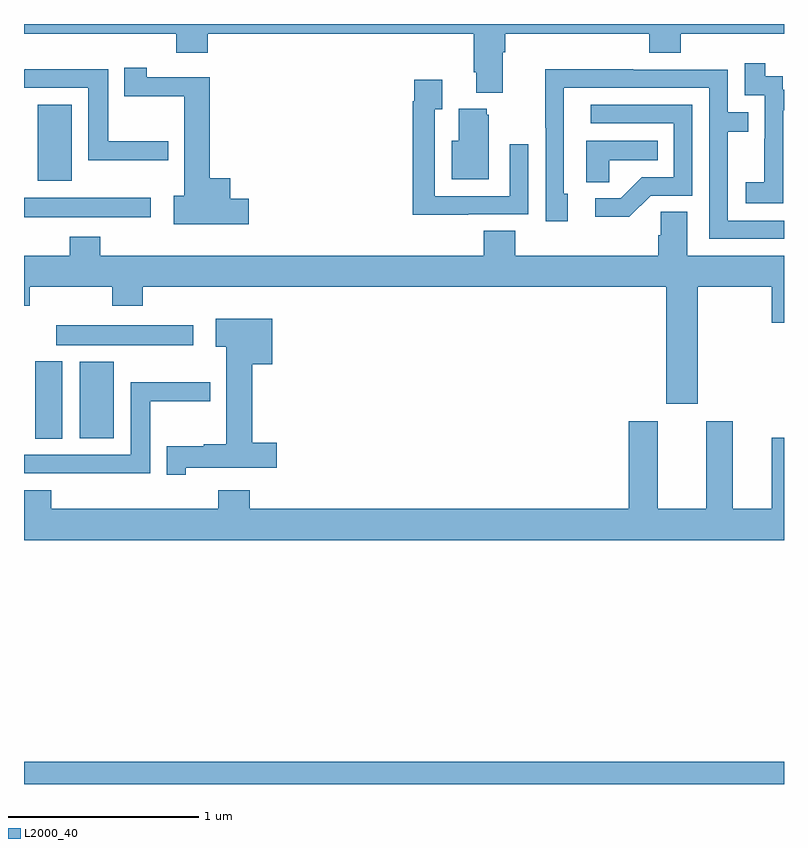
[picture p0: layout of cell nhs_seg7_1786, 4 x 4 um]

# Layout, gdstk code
import gdstk
lib = gdstk.Library(unit=1e-6, precision=1e-09)
def R(c, l, rs):  # rectangles x0, y0, x1, y1
    for r in rs: c.add(gdstk.rectangle(r[:2], r[2:], *l))
def P(c, l, *ps):  # polygons
    for p in ps: c.add(gdstk.Polygon(p, *l))
L2000_40 = (2000, 40)

nhs_seg7_1786 = lib.new_cell('nhs_seg7_1786')
R(nhs_seg7_1786, L2000_40, [(233,998,237,998.116), (233.06,999.817,233.2,1000.225), (233.294,999.821,233.473,1000.222), (233.169,1000.31,233.89,1000.414), (233,1000.982,233.668,1001.086), (233.072,1001.174,233.251,1001.575)])
P(nhs_seg7_1786, L2000_40, [(233,1001.948),(233.801,1001.948),(233.801,1001.849),(233.966,1001.849),(233.966,1001.948),(235.367,1001.948),(235.367,1001.746),(235.379,1001.746),(235.379,1001.639),(235.519,1001.639),(235.519,1001.852),(235.532,1001.852),(235.532,1001.948),(236.291,1001.948),(236.291,1001.849),(236.456,1001.849),(236.456,1001.948),(237,1001.948),(237,1002),(233,1002)],
  [(236.997,1001.263),(236.996,1001.263),(236.996,1001.547),(237,1001.547),(237,1001.655),(236.994,1001.655),(236.994,1001.724),(236.902,1001.724),(236.902,1001.794),(236.793,1001.794),(236.793,1001.625),(236.898,1001.625),(236.898,1001.396),(236.897,1001.396),(236.897,1001.167),(236.799,1001.167),(236.799,1001.057),(236.997,1001.057)],
  [(234.184,1001.081),(234.085,1001.081),(234.085,1001.188),(233.978,1001.188),(233.978,1001.719),(233.646,1001.719),(233.646,1001.77),(233.528,1001.77),(233.528,1001.62),(233.843,1001.62),(233.843,1001.096),(233.787,1001.096),(233.787,1000.946),(234.184,1000.946)],
  [(233.758,1001.382),(233.443,1001.382),(233.443,1001.762),(233.005,1001.762),(233.005,1001.76),(233,1001.76),(233,1001.664),(233.339,1001.664),(233.339,1001.282),(233.758,1001.282)],
  [(237,1000.965),(236.703,1000.965),(236.703,1001.434),(236.813,1001.434),(236.813,1001.535),(236.703,1001.535),(236.703,1001.76),(236.207,1001.76),(236.207,1001.762),(235.744,1001.762),(235.744,1001.455),(235.746,1001.455),(235.746,1000.962),(235.861,1000.962),(235.861,1001.106),(235.842,1001.106),(235.842,1001.664),(236.607,1001.664),(236.607,1000.869),(237,1000.869)],
  [(235.337,1000.998),(235.653,1000.998),(235.653,1001.368),(235.557,1001.368),(235.557,1001.094),(235.161,1001.094),(235.161,1001.551),(235.201,1001.551),(235.201,1001.707),(235.053,1001.707),(235.053,1001.594),(235.045,1001.594),(235.045,1000.997),(235.337,1000.997)],
  [(236.298,1001.097),(236.517,1001.097),(236.517,1001.574),(235.983,1001.574),(235.983,1001.478),(236.421,1001.478),(236.421,1001.193),(236.252,1001.193),(236.141,1001.082),(236.007,1001.082),(236.007,1000.985),(236.185,1000.985)],
  [(235.447,1001.523),(235.436,1001.523),(235.436,1001.554),(235.289,1001.554),(235.289,1001.386),(235.25,1001.386),(235.25,1001.183),(235.447,1001.183)],
  [(236.079,1001.282),(236.336,1001.282),(236.336,1001.386),(235.958,1001.386),(235.958,1001.167),(236.079,1001.167)],
  [(233.242,1000.879),(233.242,1000.78),(233,1000.78),(233,1000.517),(233.031,1000.517),(233.031,1000.616),(233.464,1000.616),(233.464,1000.517),(233.624,1000.517),(233.624,1000.616),(236.381,1000.616),(236.381,1000.002),(236.545,1000.002),(236.545,1000.616),(236.936,1000.616),(236.936,1000.428),(237,1000.428),(237,1000.78),(236.491,1000.78),(236.491,1001.012),(236.352,1001.012),(236.352,1000.889),(236.339,1000.889),(236.339,1000.78),(235.586,1000.78),(235.586,1000.913),(235.421,1000.913),(235.421,1000.78),(233.402,1000.78),(233.402,1000.879)],
  [(233.85,999.665),(234.331,999.665),(234.331,999.795),(234.2,999.795),(234.2,1000.208),(234.307,1000.208),(234.307,1000.45),(234.009,1000.45),(234.009,1000.301),(234.065,1000.301),(234.065,999.787),(233.946,999.787),(233.946,999.777),(233.75,999.777),(233.75,999.627),(233.85,999.627)],
  [(233.665,1000.015),(233.98,1000.015),(233.98,1000.115),(233.561,1000.115),(233.561,999.732),(233,999.732),(233,999.636),(233.227,999.636),(233.227,999.635),(233.665,999.635)],
  [(237,999.823),(236.936,999.823),(236.936,999.448),(236.731,999.448),(236.731,999.91),(236.591,999.91),(236.591,999.448),(236.335,999.448),(236.335,999.91),(236.183,999.91),(236.183,999.448),(234.188,999.448),(234.188,999.547),(234.023,999.547),(234.023,999.448),(233.144,999.448),(233.144,999.547),(233,999.547),(233,999.284),(237,999.284)])

lib.write_gds('nhs_seg7_1786.gds')
